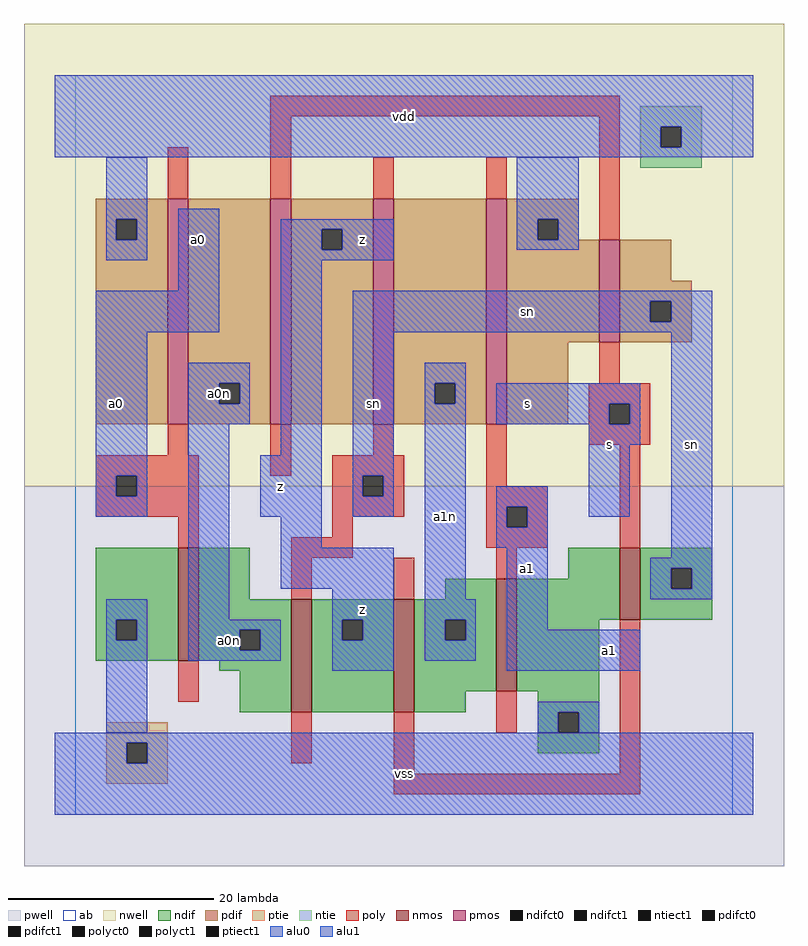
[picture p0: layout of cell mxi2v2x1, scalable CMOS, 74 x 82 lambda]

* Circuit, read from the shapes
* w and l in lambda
.subckt mxi2v2x1 a0 a0n a1 a1n s sn vdd vss z
M1 a0n a0 vss vss nfet w=11 l=2
M2 z sn a0n vss nfet w=11 l=2
M3 a1n s z vss nfet w=11 l=2
M4 vss a1 a1n vss nfet w=11 l=2
M5 sn s vss vss nfet w=7 l=2
M6 a0n a0 vdd vdd pfet w=22 l=2
M7 z s a0n vdd pfet w=22 l=2
M8 a1n sn z vdd pfet w=22 l=2
M9 vdd a1 a1n vdd pfet w=22 l=2
M10 sn s vdd vdd pfet w=10 l=2
.ends

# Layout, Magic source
magic
tech scmos
<< ab >>
rect 0 0 64 72
<< nwell >>
rect -5 32 69 77
<< pwell >>
rect -5 -5 69 32
<< poly >>
rect 19 68 53 70
rect 9 60 11 65
rect 19 60 21 68
rect 29 60 31 64
rect 40 60 42 64
rect 51 56 53 68
rect 51 42 53 46
rect 50 40 56 42
rect 50 38 52 40
rect 54 38 56 40
rect 9 35 11 38
rect 2 33 12 35
rect 19 33 21 38
rect 29 35 31 38
rect 25 33 32 35
rect 2 31 4 33
rect 6 31 12 33
rect 2 29 12 31
rect 10 26 12 29
rect 25 31 28 33
rect 30 31 32 33
rect 25 29 32 31
rect 40 32 42 38
rect 50 36 56 38
rect 40 30 46 32
rect 25 27 27 29
rect 21 25 27 27
rect 40 28 42 30
rect 44 28 46 30
rect 40 26 46 28
rect 53 26 55 36
rect 21 21 23 25
rect 31 21 33 25
rect 41 23 43 26
rect 10 11 12 15
rect 21 5 23 10
rect 31 4 33 10
rect 41 8 43 12
rect 53 4 55 19
rect 31 2 55 4
<< ndif >>
rect 2 19 10 26
rect 2 17 4 19
rect 6 17 10 19
rect 2 15 10 17
rect 12 21 17 26
rect 48 23 53 26
rect 36 21 41 23
rect 12 18 21 21
rect 12 16 16 18
rect 18 16 21 18
rect 12 15 21 16
rect 14 14 21 15
rect 16 10 21 14
rect 23 19 31 21
rect 23 17 26 19
rect 28 17 31 19
rect 23 10 31 17
rect 33 19 41 21
rect 33 17 36 19
rect 38 17 41 19
rect 33 12 41 17
rect 43 19 53 23
rect 55 24 62 26
rect 55 22 58 24
rect 60 22 62 24
rect 55 19 62 22
rect 43 12 51 19
rect 33 10 38 12
rect 45 10 51 12
rect 45 8 47 10
rect 49 8 51 10
rect 45 6 51 8
<< pdif >>
rect 2 58 9 60
rect 2 56 4 58
rect 6 56 9 58
rect 2 38 9 56
rect 11 42 19 60
rect 11 40 14 42
rect 16 40 19 42
rect 11 38 19 40
rect 21 57 29 60
rect 21 55 24 57
rect 26 55 29 57
rect 21 38 29 55
rect 31 42 40 60
rect 31 40 35 42
rect 37 40 40 42
rect 31 38 40 40
rect 42 58 49 60
rect 42 56 45 58
rect 47 56 49 58
rect 42 46 51 56
rect 53 52 58 56
rect 53 50 60 52
rect 53 48 56 50
rect 58 48 60 50
rect 53 46 60 48
rect 42 38 48 46
<< alu1 >>
rect -2 67 66 72
rect -2 65 57 67
rect 59 65 66 67
rect -2 64 66 65
rect 10 51 14 59
rect 2 47 14 51
rect 20 57 31 58
rect 20 55 24 57
rect 26 55 31 57
rect 20 54 31 55
rect 2 33 7 47
rect 2 31 4 33
rect 6 31 7 33
rect 2 29 7 31
rect 20 35 24 54
rect 18 29 24 35
rect 20 26 24 29
rect 20 22 31 26
rect 25 19 31 22
rect 25 17 26 19
rect 28 17 31 19
rect 25 14 31 17
rect 41 40 55 42
rect 41 38 52 40
rect 54 38 55 40
rect 50 36 55 38
rect 41 30 46 32
rect 41 28 42 30
rect 44 28 46 30
rect 50 29 54 36
rect 41 26 46 28
rect 42 18 46 26
rect 42 14 55 18
rect -2 7 66 8
rect -2 5 5 7
rect 7 5 66 7
rect -2 0 66 5
<< ptie >>
rect 3 7 9 9
rect 3 5 5 7
rect 7 5 9 7
rect 3 3 9 5
<< ntie >>
rect 55 67 61 69
rect 55 65 57 67
rect 59 65 61 67
rect 55 63 61 65
<< nmos >>
rect 10 15 12 26
rect 21 10 23 21
rect 31 10 33 21
rect 41 12 43 23
rect 53 19 55 26
<< pmos >>
rect 9 38 11 60
rect 19 38 21 60
rect 29 38 31 60
rect 40 38 42 60
rect 51 46 53 56
<< polyct0 >>
rect 28 31 30 33
<< polyct1 >>
rect 52 38 54 40
rect 4 31 6 33
rect 42 28 44 30
<< ndifct0 >>
rect 4 17 6 19
rect 16 16 18 18
rect 36 17 38 19
rect 58 22 60 24
rect 47 8 49 10
<< ndifct1 >>
rect 26 17 28 19
<< ntiect1 >>
rect 57 65 59 67
<< ptiect1 >>
rect 5 5 7 7
<< pdifct0 >>
rect 4 56 6 58
rect 14 40 16 42
rect 35 40 37 42
rect 45 56 47 58
rect 56 48 58 50
<< pdifct1 >>
rect 24 55 26 57
<< alu0 >>
rect 3 58 7 64
rect 3 56 4 58
rect 6 56 7 58
rect 3 54 7 56
rect 43 58 49 64
rect 43 56 45 58
rect 47 56 49 58
rect 43 55 49 56
rect 11 42 17 44
rect 11 40 14 42
rect 16 40 17 42
rect 11 38 17 40
rect 3 19 7 21
rect 3 17 4 19
rect 6 17 7 19
rect 3 8 7 17
rect 11 19 15 38
rect 27 50 62 51
rect 27 48 56 50
rect 58 48 62 50
rect 27 47 62 48
rect 27 33 31 47
rect 27 31 28 33
rect 30 31 31 33
rect 27 29 31 31
rect 34 42 38 44
rect 34 40 35 42
rect 37 40 38 42
rect 11 18 20 19
rect 11 16 16 18
rect 18 16 20 18
rect 11 15 20 16
rect 34 21 38 40
rect 34 19 39 21
rect 34 17 36 19
rect 38 17 39 19
rect 34 15 39 17
rect 58 25 62 47
rect 56 24 62 25
rect 56 22 58 24
rect 60 22 62 24
rect 56 21 62 22
rect 45 10 51 11
rect 45 8 47 10
rect 49 8 51 10
<< labels >>
rlabel alu0 15 17 15 17 6 a0n
rlabel alu0 14 41 14 41 6 a0n
rlabel alu0 36 29 36 29 6 a1n
rlabel alu0 29 40 29 40 6 sn
rlabel alu0 44 49 44 49 6 sn
rlabel alu0 60 36 60 36 6 sn
rlabel alu1 4 40 4 40 6 a0
rlabel alu1 12 56 12 56 6 a0
rlabel alu1 28 20 28 20 6 z
rlabel alu1 20 32 20 32 6 z
rlabel alu1 28 56 28 56 6 z
rlabel alu1 32 4 32 4 6 vss
rlabel alu1 44 24 44 24 6 a1
rlabel alu1 44 40 44 40 6 s
rlabel alu1 32 68 32 68 6 vdd
rlabel alu1 52 16 52 16 6 a1
rlabel alu1 52 36 52 36 6 s
<< end >>
